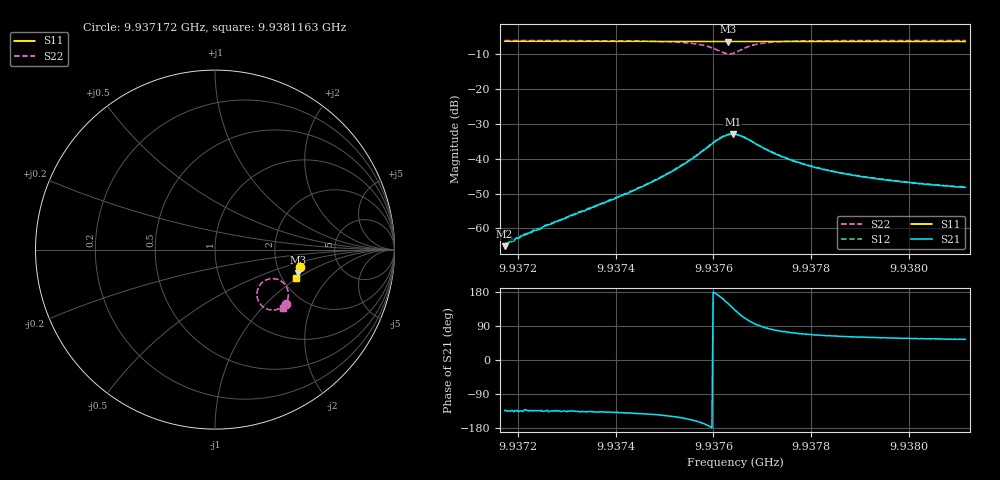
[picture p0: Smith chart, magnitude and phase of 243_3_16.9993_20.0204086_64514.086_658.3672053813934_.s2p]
#  HZ  S  RI  R  50.00
! Rohde & Schwarz Vector Network Analyzer
! Rohde-Schwarz,ZNB20-2Port,1311601062101988,3.16
! Created: UTC 3/20/2024, 11:02:58 PM
! freq[Hz]  re:S11  im:S11  re:S21  im:S21  re:S12  im:S12  re:S22  im:S22
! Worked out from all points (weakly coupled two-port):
!   401 points, 9.937172 GHz to 9.9381163 GHz, reference 50 ohm
!   highest |S21| = -32.96 dB at 9.9376394 GHz (marker M1); lowest = -65.1 dB at 9.937172 GHz (marker M2)
!   lowest |S11| = -6.4 dB at 9.93763 GHz (marker M3), VSWR 2.84, Z = 126 - j41.8 ohm
!   |S11| at or under -10 dB: nowhere
!   |S22| runs from -9.9 to -6.1 dB; largest |S21 - S12| = 0.001
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9.93717195e9  0.474 -0.0984  -0.000382 -0.000404  -0.00047 -0.000393  0.3954 -0.3018
9.93719084e9  0.4735 -0.0996  -0.000475 -0.000448  -0.000466 -0.000488  0.3942 -0.3032
9.93719556e9  0.4733 -0.1001  -0.000516 -0.000519  -0.000512 -0.000496  0.3938 -0.3037
9.9372357e9  0.4728 -0.1027  -0.00064 -0.000685  -0.000664 -0.000692  0.3904 -0.3069
9.93724278e9  0.4726 -0.1033  -0.000667 -0.000697  -0.000721 -0.000691  0.3901 -0.3074
9.93725459e9  0.4723 -0.1041  -0.000776 -0.000792  -0.000781 -0.000769  0.3889 -0.3085
9.93733014e9  0.4708 -0.1091  -0.00127 -0.00121  -0.00128 -0.00119  0.3808 -0.3154
9.93742694e9  0.4689 -0.1157  -0.00249 -0.00208  -0.0026 -0.00209  0.3652 -0.3256
9.93748832e9  0.4674 -0.12  -0.00425 -0.00295  -0.00435 -0.00294  0.3472 -0.3332
9.93753791e9  0.466 -0.1233  -0.0073 -0.00367  -0.00751 -0.0036  0.3194 -0.3368
9.9375804e9  0.4642 -0.1261  -0.013 -0.00275  -0.0133 -0.00244  0.2734 -0.3227
9.93760873e9  0.4627 -0.1275  -0.0185 0.00278  -0.0187 0.00331  0.2366 -0.2723
9.93762998e9  0.4621 -0.1278  -0.0189 0.0112  -0.0187 0.0122  0.2468 -0.2028
9.93763943e9  0.4622 -0.128  -0.0165 0.0152  -0.016 0.0161  0.2716 -0.1772
9.93764415e9  0.4622 -0.128  -0.0148 0.0167  -0.0144 0.0174  0.2867 -0.1687
9.93767012e9  0.4627 -0.1294  -0.00513 0.0184  -0.0046 0.0186  0.3639 -0.1727
9.93769845e9  0.4629 -0.1315  0.00047 0.0147  0.000838 0.0148  0.4 -0.2106
9.93774095e9  0.4621 -0.1348  0.00268 0.0103  0.0029 0.0103  0.4092 -0.2503
9.93780233e9  0.4608 -0.1391  0.00306 0.00708  0.0032 0.00707  0.4044 -0.2794
9.9378708e9  0.4592 -0.1437  0.00283 0.00534  0.00299 0.00533  0.3974 -0.2961
9.93796052e9  0.457 -0.1497  0.00258 0.00411  0.00267 0.00414  0.3891 -0.3091
9.93811634e9  0.4529 -0.1598  0.00225 0.00316  0.00235 0.00314  0.3775 -0.3237
